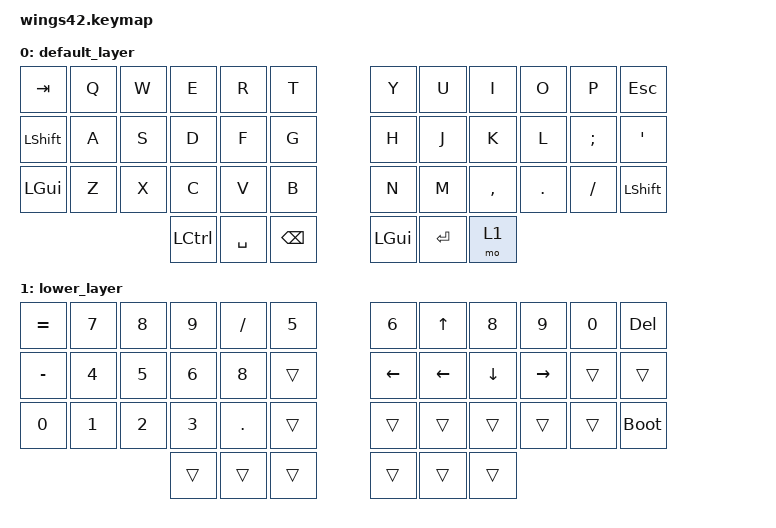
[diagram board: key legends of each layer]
#include <behaviors.dtsi>
#include <dt-bindings/zmk/keys.h>
#include <dt-bindings/zmk/bt.h>

/ {
    keymap {
        compatible = "zmk,keymap";

        default_layer {
            bindings = <
                &kp TAB   &kp Q &kp W &kp E &kp R &kp T                      &kp Y &kp U &kp I     &kp O   &kp P    &kp ESC
                &kp LSHFT &kp A &kp S &kp D &kp F &kp G                      &kp H &kp J &kp K     &kp L   &kp SEMI &kp SQT
                &kp LGUI  &kp Z &kp X &kp C &kp V &kp B                      &kp N &kp M &kp COMMA &kp DOT &kp FSLH &kp LSHFT
                                      &kp LCTRL &kp SPACE &kp BSPC    &kp LGUI &kp ENTER &mo 1
            >;
        };

        lower_layer {
            bindings = <
                &kp EQUAL   &kp N7      &kp N8      &kp N9     &kp SLASH             &kp N5     &kp N6    &kp UP    &kp N8      &kp N9    &kp N0 &kp DEL
                &kp MINUS   &kp N4      &kp N5      &kp N6     &kp N8 &trans         &kp LEFT   &kp LEFT  &kp DOWN  &kp RIGHT   &trans    &trans
                &kp N0      &kp N1      &kp N2      &kp N3     &kp DOT               &trans     &trans    &trans    &trans      &trans    &trans &bootloader
                                                    &trans &trans &trans        &trans &trans &trans
            >;
        };
    };
};
